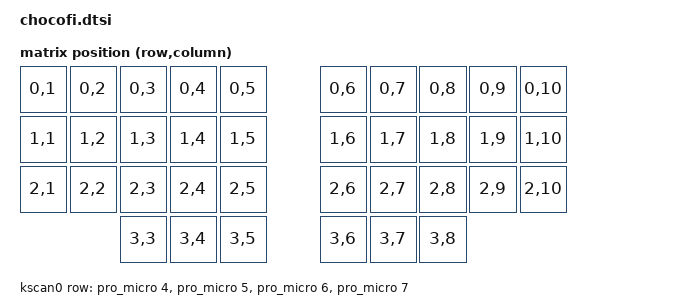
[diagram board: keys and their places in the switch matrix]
/*
 * Copyright (c) 2020 Pete Johanson
 *
 * SPDX-License-Identifier: MIT
 */

#include <dt-bindings/zmk/matrix_transform.h>

/ {
	chosen {
		zephyr,display = &oled;
		zmk,kscan = &kscan0;
		zmk,matrix_transform = &default_transform;
	};

	default_transform: keymap_transform_0 {
		compatible = "zmk,matrix-transform";
		columns = <10>;
		rows = <4>;
		map = <
RC(0,1) RC(0,2) RC(0,3) RC(0,4) RC(0,5)  RC(0,6) RC(0,7) RC(0,8) RC(0,9) RC(0,10)
RC(1,1) RC(1,2) RC(1,3) RC(1,4) RC(1,5)  RC(1,6) RC(1,7) RC(1,8) RC(1,9) RC(1,10)
RC(2,1) RC(2,2) RC(2,3) RC(2,4) RC(2,5)  RC(2,6) RC(2,7) RC(2,8) RC(2,9) RC(2,10)
                        RC(3,3) RC(3,4) RC(3,5)  RC(3,6) RC(3,7) RC(3,8)
		>;
	};

	kscan0: kscan {
		compatible = "zmk,kscan-gpio-matrix";

		diode-direction = "col2row";
		row-gpios
			= <&pro_micro 4 (GPIO_ACTIVE_HIGH | GPIO_PULL_DOWN)>
			, <&pro_micro 5 (GPIO_ACTIVE_HIGH | GPIO_PULL_DOWN)>
			, <&pro_micro 6 (GPIO_ACTIVE_HIGH | GPIO_PULL_DOWN)>
			, <&pro_micro 7 (GPIO_ACTIVE_HIGH | GPIO_PULL_DOWN)>
			;

	};
};

&pro_micro_i2c {
	status = "okay";

	oled: ssd1306@3c {
		compatible = "solomon,ssd1306fb";
		reg = <0x3c>;
		label = "DISPLAY";
		width = <128>;
		height = <32>;
		segment-offset = <0>;
		page-offset = <0>;
		display-offset = <0>;
		multiplex-ratio = <31>;
		segment-remap;
		com-invdir;
		com-sequential;
		prechargep = <0x22>;
	};
};

// The PS/2 GPIO and mouse drivers.
/ {
    gpio_ps2: gpio_ps2 {
		status = "disabled";
        compatible = "gpio-ps2";

        // The two bottom left pins of the nice!nano (when it is facing down)
        scl-gpios = <&pro_micro 16 0>;
        sda-gpios = <&pro_micro 10 0>;
    };
};

/ {
    mouse_ps2: mouse_ps2 {
		status = "disabled";
        compatible = "zmk,mouse-ps2";
        ps2-device = <&gpio_ps2>;

        // Uncomment this if you have an extra free pin and
        // want the controller to perform the Power-On-Reset
        // instead of using a reset circuit.
        //
        // The bottom right pin of the nice!nano (when it is facing down)
        rst-gpios = <&pro_micro 9 0>;
    };
};
